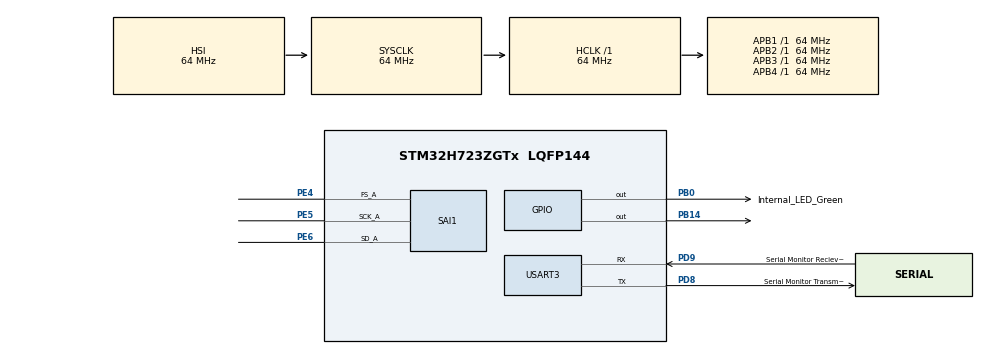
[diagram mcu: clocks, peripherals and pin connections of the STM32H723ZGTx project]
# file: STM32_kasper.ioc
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CORTEX_M7.default_mode_Activation=1
Dma.Request0=USART3_TX
Dma.Request1=SAI1_A
Dma.SAI1_A.1.Direction=DMA_PERIPH_TO_MEMORY
Dma.SAI1_A.1.EventEnable=DISABLE
Dma.SAI1_A.1.FIFOMode=DMA_FIFOMODE_ENABLE
Dma.SAI1_A.1.FIFOThreshold=DMA_FIFO_THRESHOLD_FULL
Dma.SAI1_A.1.Instance=DMA1_Stream0
Dma.SAI1_A.1.MemBurst=DMA_MBURST_SINGLE
Dma.SAI1_A.1.MemDataAlignment=DMA_MDATAALIGN_WORD
Dma.SAI1_A.1.MemInc=DMA_MINC_ENABLE
Dma.SAI1_A.1.Mode=DMA_CIRCULAR
Dma.SAI1_A.1.PeriphBurst=DMA_PBURST_SINGLE
Dma.SAI1_A.1.PeriphDataAlignment=DMA_PDATAALIGN_WORD
Dma.SAI1_A.1.PeriphInc=DMA_PINC_DISABLE
Dma.SAI1_A.1.Polarity=HAL_DMAMUX_REQ_GEN_RISING
Dma.SAI1_A.1.Priority=DMA_PRIORITY_VERY_HIGH
Dma.SAI1_A.1.RequestNumber=1
Dma.SAI1_A.1.SignalID=NONE
Dma.SAI1_A.1.SyncEnable=DISABLE
Dma.SAI1_A.1.SyncPolarity=HAL_DMAMUX_SYNC_NO_EVENT
Dma.SAI1_A.1.SyncRequestNumber=1
Dma.SAI1_A.1.SyncSignalID=NONE
Dma.USART3_TX.0.Direction=DMA_MEMORY_TO_PERIPH
Dma.USART3_TX.0.EventEnable=DISABLE
Dma.USART3_TX.0.FIFOMode=DMA_FIFOMODE_DISABLE
Dma.USART3_TX.0.Instance=DMA1_Stream7
Dma.USART3_TX.0.MemDataAlignment=DMA_MDATAALIGN_BYTE
Dma.USART3_TX.0.MemInc=DMA_MINC_ENABLE
Dma.USART3_TX.0.Mode=DMA_NORMAL
Dma.USART3_TX.0.PeriphDataAlignment=DMA_PDATAALIGN_BYTE
Dma.USART3_TX.0.PeriphInc=DMA_PINC_DISABLE
Dma.USART3_TX.0.Polarity=HAL_DMAMUX_REQ_GEN_RISING
Dma.USART3_TX.0.Priority=DMA_PRIORITY_LOW
Dma.USART3_TX.0.RequestNumber=1
Dma.USART3_TX.0.SignalID=NONE
Dma.USART3_TX.0.SyncEnable=DISABLE
Dma.USART3_TX.0.SyncPolarity=HAL_DMAMUX_SYNC_NO_EVENT
Dma.USART3_TX.0.SyncRequestNumber=1
Dma.USART3_TX.0.SyncSignalID=NONE
Mcu.Family=STM32H7
Mcu.Name=STM32H723ZGTx
Mcu.Package=LQFP144
Mdma.MDMA_Channel0.Request0=SW
Mdma.MDMA_Channel0.RequestsNb=1
Mdma.MDMA_Channel0.SW.0.BlockCount=1
Mdma.MDMA_Channel0.SW.0.BlockDataLength=8192
Mdma.MDMA_Channel0.SW.0.BufferTransferLength=128
Mdma.MDMA_Channel0.SW.0.CircularMode=MDMA_LINEAR_LIST
Mdma.MDMA_Channel0.SW.0.DataAlignment=MDMA_DATAALIGN_PACKENABLE
Mdma.MDMA_Channel0.SW.0.DestBlockAddressOffset=0
Mdma.MDMA_Channel0.SW.0.DestBurst=MDMA_DEST_BURST_16BEATS
Mdma.MDMA_Channel0.SW.0.DestDataSize=MDMA_DEST_DATASIZE_WORD
Mdma.MDMA_Channel0.SW.0.DestinationInc=MDMA_DEST_INC_WORD
Mdma.MDMA_Channel0.SW.0.DstAddress=0
Mdma.MDMA_Channel0.SW.0.Endianness=MDMA_LITTLE_ENDIANNESS_PRESERVE
Mdma.MDMA_Channel0.SW.0.Instance=MDMA_Channel0
Mdma.MDMA_Channel0.SW.0.MaskAddress=0
Mdma.MDMA_Channel0.SW.0.MaskData=0
Mdma.MDMA_Channel0.SW.0.Priority=MDMA_PRIORITY_LOW
Mdma.MDMA_Channel0.SW.0.Rank=First
Mdma.MDMA_Channel0.SW.0.SourceBlockAddressOffset=0
Mdma.MDMA_Channel0.SW.0.SourceBurst=MDMA_SOURCE_BURST_16BEATS
Mdma.MDMA_Channel0.SW.0.SourceDataSize=MDMA_SRC_DATASIZE_WORD
Mdma.MDMA_Channel0.SW.0.SourceInc=MDMA_SRC_INC_WORD
Mdma.MDMA_Channel0.SW.0.SrcAddress=0
Mdma.MDMA_Channel0.SW.0.TransferTriggerMode=MDMA_BLOCK_TRANSFER
Mdma.RequestSet0=MDMA_Channel0
Mdma.RequestSetsNb=1
NVIC.DMA1_Stream0_IRQn=true\:0\:0\:false\:false\:true\:false\:true\:true
NVIC.DMA1_Stream7_IRQn=true\:0\:0\:false\:false\:true\:false\:true\:true
NVIC.MDMA_IRQn=true\:0\:0\:false\:false\:true\:false\:true\:true
NVIC.PriorityGroup=NVIC_PRIORITYGROUP_4
NVIC.TIM7_IRQn=true\:0\:0\:false\:false\:true\:true\:true\:true
PB0.GPIO_Label=Internal_LED_Green
PB0.Signal=GPIO_Output
PB14.Signal=GPIO_Output
PD8.GPIO_Label=Serial Monitor Transmit
PD8.Mode=Asynchronous
PD8.Signal=USART3_TX
PD9.GPIO_Label=Serial Monitor Reciever
PD9.Mode=Asynchronous
PD9.Signal=USART3_RX
PE4.Mode=SAI_A_Master
PE4.Signal=SAI1_FS_A
PE5.Mode=SAI_A_Master
PE5.Signal=SAI1_SCK_A
PE6.Mode=SAI_A_Master
PE6.Signal=SAI1_SD_A
ProjectManager.HeapSize=0x200
ProjectManager.StackSize=0x400
ProjectManager.TargetToolchain=CMake
RCC.ADCFreq_Value=129000000
RCC.APB1Freq_Value=64000000
RCC.APB2Freq_Value=64000000
RCC.APB3Freq_Value=64000000
RCC.APB4Freq_Value=64000000
RCC.CortexFreq_Value=64000000
RCC.HCLKFreq_Value=64000000
RCC.SYSCLKFreq_VALUE=64000000
RCC.USBFreq_Value=129000000
SAI1.AudioFrequency-SAI_A_Master=SAI_AUDIO_FREQUENCY_48K
SAI1.AudioMode-SAI_A_Master=SAI_MODEMASTER_RX
SAI1.DataSize-SAI_A_Master=SAI_DATASIZE_24
SAI1.ErrorAudioFreq-SAI_A_Master=4.97 %
SAI1.FrameLength-SAI_A_Master=64
SAI1.Instance-SAI_A_Master=SAI$Index_Block_A
SAI1.MckOutput-SAI_A_Master=SAI_MCK_OUTPUT_DISABLE
SAI1.RealAudioFreq-SAI_A_Master=50.39 KHz
SAI1.SlotActive-SAI_A_Master=0x00000001
SAI1.SlotNumber-SAI_A_Master=1
SAI1.SlotSize-SAI_A_Master=SAI_SLOTSIZE_32B
SAI1.VirtualMode-SAI_A_Master=VM_MASTER
SAI1.VirtualSlotActive-SAI_A_Master=SAI_SLOT_USERSETTING
SAI1.VirtualSlotActive0-SAI_A_Master=true
TIM7.Period=19
TIM7.Prescaler=63999
USART3.VirtualMode-Asynchronous=VM_ASYNC
VP_MEMORYMAP_VS_MEMORYMAP.Mode=CurAppReg
VP_TIM7_VS_ClockSourceINT.Mode=Enable_Timer
VP_TIM7_VS_OPM.Mode=OPM_bit
board=custom

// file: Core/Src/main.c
/* USER CODE BEGIN Header */
/**
  ******************************************************************************
  * @file           : main.c
  * @brief          : Main program body
  ******************************************************************************
  * @attention
  *
  * Copyright (c) 2026 STMicroelectronics.
  * All rights reserved.
  *
  * This software is licensed under terms that can be found in the LICENSE file
  * in the root directory of this software component.
  * If no LICENSE file comes with this software, it is provided AS-IS.
  *
  ******************************************************************************
  */
/* USER CODE END Header */
#include "main.h"

/* USER CODE BEGIN Includes */
#include "serial_monitor.h"
#include "startup_ws.h"
#include "mic_data_dma.h"

#include "stm32h7xx_hal_def.h"
#include "stm32h7xx_hal_dma.h"
#include "stm32h7xx_hal_gpio.h"
#include "stm32h7xx_hal_mdma.h"
#include "stm32h7xx_hal_sai.h"
#include <stdint.h>
/* USER CODE END Includes */

/* USER CODE BEGIN PD */
#define ICS_BUF_LEN        4096
#define HALF_LEN_SAMPLES   (ICS_BUF_LEN / 2)
#define HALF_LEN_BYTES     (HALF_LEN_SAMPLES * sizeof(uint32_t))

#define CAPTURE_SECONDS     1
#define HALVES_PER_SECOND  (48000 / HALF_LEN_SAMPLES)
#define TOTAL_HALVES_NEEDED (CAPTURE_SECONDS * 48000 / HALF_LEN_SAMPLES)
/* USER CODE END PD */

SAI_HandleTypeDef hsai_BlockA1;
DMA_HandleTypeDef hdma_sai1_a;

TIM_HandleTypeDef htim7;

UART_HandleTypeDef huart3;
DMA_HandleTypeDef hdma_usart3_tx;

MDMA_HandleTypeDef hmdma_mdma_channel0_sw_0;
/* USER CODE BEGIN PV */
// This is for DMA stream from mic to RAM
#define ICS_BUF_ADDR 0x24000000UL
uint32_t * const ics_buf = (uint32_t *)ICS_BUF_ADDR;

// This is for MDMA stream from small buffer to big buffer
#define DATA_BUF_ADDR (ICS_BUF_ADDR + ICS_BUF_LEN * sizeof(uint32_t))
uint32_t * const data_buf = (uint32_t *)DATA_BUF_ADDR;

uint16_t halves_sent = 0;
static volatile uint32_t write_index = 0;
/* USER CODE END PV */

void SystemClock_Config(void);
static void MPU_Config(void);
static void MX_GPIO_Init(void);
static void MX_DMA_Init(void);
static void MX_MDMA_Init(void);
static void MX_USART3_UART_Init(void);
static void MX_TIM7_Init(void);
static void MX_SAI1_Init(void);
/* USER CODE BEGIN PFP */
static void MDMA_XferCpltCallback(MDMA_HandleTypeDef *hmdma);
/* USER CODE END PFP */

int main(void)
{

  /* MPU Configuration--------------------------------------------------------*/
  MPU_Config();

  /* MCU Configuration--------------------------------------------------------*/

  /* Reset of all peripherals, Initializes the Flash interface and the Systick. */
  HAL_Init();

  /* Configure the system clock */
  SystemClock_Config();

  /* Initialize all configured peripherals */
  MX_GPIO_Init();
  MX_DMA_Init();
  MX_MDMA_Init();
  MX_USART3_UART_Init();
  MX_TIM7_Init();
  MX_SAI1_Init();
  /* USER CODE BEGIN 2 */
	Disable_SAI_FS_Pin();
	__HAL_SAI_ENABLE(&hsai_BlockA1); // Start SAI block - SCK starts outputting but FS is LOW because on changes in stm32h7xx_hal_msp.c
	HAL_TIM_Base_Start_IT(&htim7);  // Starts timer TIM7

	HAL_SAI_Receive_DMA(&hsai_BlockA1, (uint8_t*)ics_buf, ICS_BUF_LEN);
	HAL_DMA_RegisterCallback(&hdma_usart3_tx, HAL_DMA_XFER_CPLT_CB_ID, &DMA_Transfer_Complete);
  /* USER CODE END 2 */

  /* Infinite loop */
  /* USER CODE BEGIN WHILE */
  while (halves_sent < TOTAL_HALVES_NEEDED)
  {
    /* USER CODE END WHILE */
    /* USER CODE BEGIN 3 */
  }
	HAL_SAI_DMAStop(&hsai_BlockA1);
	for (uint32_t i = 0; i < TOTAL_HALVES_NEEDED; i++) {
		// HAL_GPIO_TogglePin(GPIOB, GPIO_PIN_0); // Green build in LED turns on
		UART_DMA_Send_Buffer((uint8_t*)(data_buf + i * HALF_LEN_SAMPLES), HALF_LEN_BYTES);
		// HAL_GPIO_TogglePin(GPIOB, GPIO_PIN_0); // Green build in LED turns on
	} // Use for loop because data is only uint_8 cant send whole buffer at once

	while(1)
	{
		HAL_GPIO_TogglePin(GPIOB, GPIO_PIN_14); // Green build in LED turns on
		HAL_Delay(1000);
	}

  /* USER CODE END 3 */
}

void SystemClock_Config(void)
{
  RCC_OscInitTypeDef RCC_OscInitStruct = {0};
  RCC_ClkInitTypeDef RCC_ClkInitStruct = {0};

  /** Supply configuration update enable
  */
  HAL_PWREx_ConfigSupply(PWR_LDO_SUPPLY);

  /** Configure the main internal regulator output voltage
  */
  __HAL_PWR_VOLTAGESCALING_CONFIG(PWR_REGULATOR_VOLTAGE_SCALE3);

  while(!__HAL_PWR_GET_FLAG(PWR_FLAG_VOSRDY)) {}

  /** Initializes the RCC Oscillators according to the specified parameters
  * in the RCC_OscInitTypeDef structure.
  */
  RCC_OscInitStruct.OscillatorType = RCC_OSCILLATORTYPE_HSI;
  RCC_OscInitStruct.HSIState = RCC_HSI_DIV1;
  RCC_OscInitStruct.HSICalibrationValue = 64;
  RCC_OscInitStruct.PLL.PLLState = RCC_PLL_ON;
  RCC_OscInitStruct.PLL.PLLSource = RCC_PLLSOURCE_HSI;
  RCC_OscInitStruct.PLL.PLLM = 32;
  RCC_OscInitStruct.PLL.PLLN = 129;
  RCC_OscInitStruct.PLL.PLLP = 2;
  RCC_OscInitStruct.PLL.PLLQ = 2;
  RCC_OscInitStruct.PLL.PLLR = 2;
  RCC_OscInitStruct.PLL.PLLRGE = RCC_PLL1VCIRANGE_1;
  RCC_OscInitStruct.PLL.PLLVCOSEL = RCC_PLL1VCOWIDE;
  RCC_OscInitStruct.PLL.PLLFRACN = 0;
  if (HAL_RCC_OscConfig(&RCC_OscInitStruct) != HAL_OK)
  {
    Error_Handler();
  }

  /** Initializes the CPU, AHB and APB buses clocks
  */
  RCC_ClkInitStruct.ClockType = RCC_CLOCKTYPE_HCLK|RCC_CLOCKTYPE_SYSCLK
                              |RCC_CLOCKTYPE_PCLK1|RCC_CLOCKTYPE_PCLK2
                              |RCC_CLOCKTYPE_D3PCLK1|RCC_CLOCKTYPE_D1PCLK1;
  RCC_ClkInitStruct.SYSCLKSource = RCC_SYSCLKSOURCE_HSI;
  RCC_ClkInitStruct.SYSCLKDivider = RCC_SYSCLK_DIV1;
  RCC_ClkInitStruct.AHBCLKDivider = RCC_HCLK_DIV1;
  RCC_ClkInitStruct.APB3CLKDivider = RCC_APB3_DIV1;
  RCC_ClkInitStruct.APB1CLKDivider = RCC_APB1_DIV1;
  RCC_ClkInitStruct.APB2CLKDivider = RCC_APB2_DIV1;
  RCC_ClkInitStruct.APB4CLKDivider = RCC_APB4_DIV1;

  if (HAL_RCC_ClockConfig(&RCC_ClkInitStruct, FLASH_LATENCY_1) != HAL_OK)
  {
    Error_Handler();
  }
}

static void MX_SAI1_Init(void)
{

  hsai_BlockA1.Instance = SAI1_Block_A;
  hsai_BlockA1.Init.Protocol = SAI_FREE_PROTOCOL;
  hsai_BlockA1.Init.AudioMode = SAI_MODEMASTER_RX;
  hsai_BlockA1.Init.DataSize = SAI_DATASIZE_24;
  hsai_BlockA1.Init.FirstBit = SAI_FIRSTBIT_MSB;
  hsai_BlockA1.Init.ClockStrobing = SAI_CLOCKSTROBING_FALLINGEDGE;
  hsai_BlockA1.Init.Synchro = SAI_ASYNCHRONOUS;
  hsai_BlockA1.Init.OutputDrive = SAI_OUTPUTDRIVE_DISABLE;
  hsai_BlockA1.Init.NoDivider = SAI_MASTERDIVIDER_ENABLE;
  hsai_BlockA1.Init.FIFOThreshold = SAI_FIFOTHRESHOLD_EMPTY;
  hsai_BlockA1.Init.AudioFrequency = SAI_AUDIO_FREQUENCY_48K;
  hsai_BlockA1.Init.SynchroExt = SAI_SYNCEXT_DISABLE;
  hsai_BlockA1.Init.MonoStereoMode = SAI_STEREOMODE;
  hsai_BlockA1.Init.CompandingMode = SAI_NOCOMPANDING;
  hsai_BlockA1.Init.PdmInit.Activation = DISABLE;
  hsai_BlockA1.Init.PdmInit.MicPairsNbr = 0;
  hsai_BlockA1.Init.PdmInit.ClockEnable = SAI_PDM_CLOCK1_ENABLE;
  hsai_BlockA1.FrameInit.FrameLength = 64;
  hsai_BlockA1.FrameInit.ActiveFrameLength = 1;
  hsai_BlockA1.FrameInit.FSDefinition = SAI_FS_STARTFRAME;
  hsai_BlockA1.FrameInit.FSPolarity = SAI_FS_ACTIVE_LOW;
  hsai_BlockA1.FrameInit.FSOffset = SAI_FS_FIRSTBIT;
  hsai_BlockA1.SlotInit.FirstBitOffset = 0;
  hsai_BlockA1.SlotInit.SlotSize = SAI_SLOTSIZE_32B;
  hsai_BlockA1.SlotInit.SlotNumber = 1;
  hsai_BlockA1.SlotInit.SlotActive = 0x00000001;
  if (HAL_SAI_Init(&hsai_BlockA1) != HAL_OK)
  {
    Error_Handler();
  }

}

static void MX_TIM7_Init(void)
{

  TIM_MasterConfigTypeDef sMasterConfig = {0};

  htim7.Instance = TIM7;
  htim7.Init.Prescaler = 63999;
  htim7.Init.CounterMode = TIM_COUNTERMODE_UP;
  htim7.Init.Period = 19;
  htim7.Init.AutoReloadPreload = TIM_AUTORELOAD_PRELOAD_DISABLE;
  if (HAL_TIM_Base_Init(&htim7) != HAL_OK)
  {
    Error_Handler();
  }
  if (HAL_TIM_OnePulse_Init(&htim7, TIM_OPMODE_SINGLE) != HAL_OK)
  {
    Error_Handler();
  }
  sMasterConfig.MasterOutputTrigger = TIM_TRGO_RESET;
  sMasterConfig.MasterSlaveMode = TIM_MASTERSLAVEMODE_DISABLE;
  if (HAL_TIMEx_MasterConfigSynchronization(&htim7, &sMasterConfig) != HAL_OK)
  {
    Error_Handler();
  }

}

static void MX_USART3_UART_Init(void)
{

  huart3.Instance = USART3;
  huart3.Init.BaudRate = 115200;
  huart3.Init.WordLength = UART_WORDLENGTH_8B;
  huart3.Init.StopBits = UART_STOPBITS_1;
  huart3.Init.Parity = UART_PARITY_NONE;
  huart3.Init.Mode = UART_MODE_TX_RX;
  huart3.Init.HwFlowCtl = UART_HWCONTROL_NONE;
  huart3.Init.OverSampling = UART_OVERSAMPLING_16;
  huart3.Init.OneBitSampling = UART_ONE_BIT_SAMPLE_DISABLE;
  huart3.Init.ClockPrescaler = UART_PRESCALER_DIV1;
  huart3.AdvancedInit.AdvFeatureInit = UART_ADVFEATURE_NO_INIT;
  if (HAL_UART_Init(&huart3) != HAL_OK)
  {
    Error_Handler();
  }
  if (HAL_UARTEx_SetTxFifoThreshold(&huart3, UART_TXFIFO_THRESHOLD_1_8) != HAL_OK)
  {
    Error_Handler();
  }
  if (HAL_UARTEx_SetRxFifoThreshold(&huart3, UART_RXFIFO_THRESHOLD_1_8) != HAL_OK)
  {
    Error_Handler();
  }
  if (HAL_UARTEx_DisableFifoMode(&huart3) != HAL_OK)
  {
    Error_Handler();
  }

}

static void MX_DMA_Init(void)
{

  /* DMA controller clock enable */
  __HAL_RCC_DMA1_CLK_ENABLE();

  /* DMA interrupt init */
  /* DMA1_Stream0_IRQn interrupt configuration */
  HAL_NVIC_SetPriority(DMA1_Stream0_IRQn, 0, 0);
  HAL_NVIC_EnableIRQ(DMA1_Stream0_IRQn);
  /* DMA1_Stream7_IRQn interrupt configuration */
  HAL_NVIC_SetPriority(DMA1_Stream7_IRQn, 0, 0);
  HAL_NVIC_EnableIRQ(DMA1_Stream7_IRQn);

}

/**
  * Enable MDMA controller clock
  * Configure MDMA for global transfers
  *   hmdma_mdma_channel0_sw_0
  */
static void MX_MDMA_Init(void)
{

  /* MDMA controller clock enable */
  __HAL_RCC_MDMA_CLK_ENABLE();
  /* Local variables */

  /* Configure MDMA channel MDMA_Channel0 */
  /* Configure MDMA request hmdma_mdma_channel0_sw_0 on MDMA_Channel0 */
  hmdma_mdma_channel0_sw_0.Instance = MDMA_Channel0;
  hmdma_mdma_channel0_sw_0.Init.Request = MDMA_REQUEST_SW;
  hmdma_mdma_channel0_sw_0.Init.TransferTriggerMode = MDMA_BLOCK_TRANSFER;
  hmdma_mdma_channel0_sw_0.Init.Priority = MDMA_PRIORITY_LOW;
  hmdma_mdma_channel0_sw_0.Init.Endianness = MDMA_LITTLE_ENDIANNESS_PRESERVE;
  hmdma_mdma_channel0_sw_0.Init.SourceInc = MDMA_SRC_INC_WORD;
  hmdma_mdma_channel0_sw_0.Init.DestinationInc = MDMA_DEST_INC_WORD;
  hmdma_mdma_channel0_sw_0.Init.SourceDataSize = MDMA_SRC_DATASIZE_WORD;
  hmdma_mdma_channel0_sw_0.Init.DestDataSize = MDMA_DEST_DATASIZE_WORD;
  hmdma_mdma_channel0_sw_0.Init.DataAlignment = MDMA_DATAALIGN_PACKENABLE;
  hmdma_mdma_channel0_sw_0.Init.BufferTransferLength = 128;
  hmdma_mdma_channel0_sw_0.Init.SourceBurst = MDMA_SOURCE_BURST_16BEATS;
  hmdma_mdma_channel0_sw_0.Init.DestBurst = MDMA_DEST_BURST_16BEATS;
  hmdma_mdma_channel0_sw_0.Init.SourceBlockAddressOffset = 0;
  hmdma_mdma_channel0_sw_0.Init.DestBlockAddressOffset = 0;
  if (HAL_MDMA_Init(&hmdma_mdma_channel0_sw_0) != HAL_OK)
  {
    Error_Handler();
  }

  /* MDMA interrupt initialization */
  /* MDMA_IRQn interrupt configuration */
  HAL_NVIC_SetPriority(MDMA_IRQn, 0, 0);
  HAL_NVIC_EnableIRQ(MDMA_IRQn);

  /* USER CODE BEGIN MDMA_Init 2 */
  hmdma_mdma_channel0_sw_0.XferCpltCallback = MDMA_XferCpltCallback; // Added be me
  /* USER CODE END MDMA_Init 2 */
}

static void MX_GPIO_Init(void)
{
  GPIO_InitTypeDef GPIO_InitStruct = {0};

  /* GPIO Ports Clock Enable */
  __HAL_RCC_GPIOE_CLK_ENABLE();
  __HAL_RCC_GPIOB_CLK_ENABLE();
  __HAL_RCC_GPIOD_CLK_ENABLE();

  /*Configure GPIO pin Output Level */
  HAL_GPIO_WritePin(GPIOB, Internal_LED_Green_Pin|GPIO_PIN_14, GPIO_PIN_RESET);

  /*Configure GPIO pins : Internal_LED_Green_Pin PB14 */
  GPIO_InitStruct.Pin = Internal_LED_Green_Pin|GPIO_PIN_14;
  GPIO_InitStruct.Mode = GPIO_MODE_OUTPUT_PP;
  GPIO_InitStruct.Pull = GPIO_NOPULL;
  GPIO_InitStruct.Speed = GPIO_SPEED_FREQ_LOW;
  HAL_GPIO_Init(GPIOB, &GPIO_InitStruct);

}

/* USER CODE BEGIN 4 */
void HAL_SAI_RxHalfCpltCallback(SAI_HandleTypeDef *hsai)
{
	HAL_GPIO_WritePin(GPIOB, GPIO_PIN_14, GPIO_PIN_SET);

	uint32_t *destination = data_buf + (write_index * HALF_LEN_SAMPLES);
	HAL_StatusTypeDef status = HAL_MDMA_Start_IT(&hmdma_mdma_channel0_sw_0,
																							(uint32_t)ics_buf,
																							(uint32_t)destination,
																							HALF_LEN_BYTES, 1);

	if (status == HAL_OK)
	{
		write_index++;
	}
	else {
		printf("Error, MDMA half\r\n");
	}
}

void HAL_SAI_RxCpltCallback(SAI_HandleTypeDef *hsai)
{
	HAL_GPIO_WritePin(GPIOB, GPIO_PIN_14, GPIO_PIN_RESET);

	uint32_t *destination = data_buf + (write_index * HALF_LEN_SAMPLES);
	HAL_StatusTypeDef status= HAL_MDMA_Start_IT(&hmdma_mdma_channel0_sw_0,
																							(uint32_t)ics_buf + HALF_LEN_SAMPLES,
																							(uint32_t)destination,
																							HALF_LEN_BYTES, 1);
	if (status == HAL_OK)
	{
		write_index++;
	}
	else {
		printf("Error, MDMA full\r\n");
	}
}
void MDMA_XferCpltCallback(MDMA_HandleTypeDef *hmdma)
{
	printf("MDMA COMPLETE\r\n");
	halves_sent++;
}
/* USER CODE END 4 */

 /* MPU Configuration */

void MPU_Config(void)
{
  MPU_Region_InitTypeDef MPU_InitStruct = {0};

  /* Disables the MPU */
  HAL_MPU_Disable();

  /** Initializes and configures the Region and the memory to be protected
  */
  MPU_InitStruct.Enable = MPU_REGION_ENABLE;
  MPU_InitStruct.Number = MPU_REGION_NUMBER0;
  MPU_InitStruct.BaseAddress = 0x0;
  MPU_InitStruct.Size = MPU_REGION_SIZE_4GB;
  MPU_InitStruct.SubRegionDisable = 0x87;
  MPU_InitStruct.TypeExtField = MPU_TEX_LEVEL0;
  MPU_InitStruct.AccessPermission = MPU_REGION_NO_ACCESS;
  MPU_InitStruct.DisableExec = MPU_INSTRUCTION_ACCESS_DISABLE;
  MPU_InitStruct.IsShareable = MPU_ACCESS_SHAREABLE;
  MPU_InitStruct.IsCacheable = MPU_ACCESS_NOT_CACHEABLE;
  MPU_InitStruct.IsBufferable = MPU_ACCESS_NOT_BUFFERABLE;

  HAL_MPU_ConfigRegion(&MPU_InitStruct);
  /* Enables the MPU */
  HAL_MPU_Enable(MPU_PRIVILEGED_DEFAULT);

}

void Error_Handler(void)
{
  __disable_irq();
  while (1)
  {
  }
}
